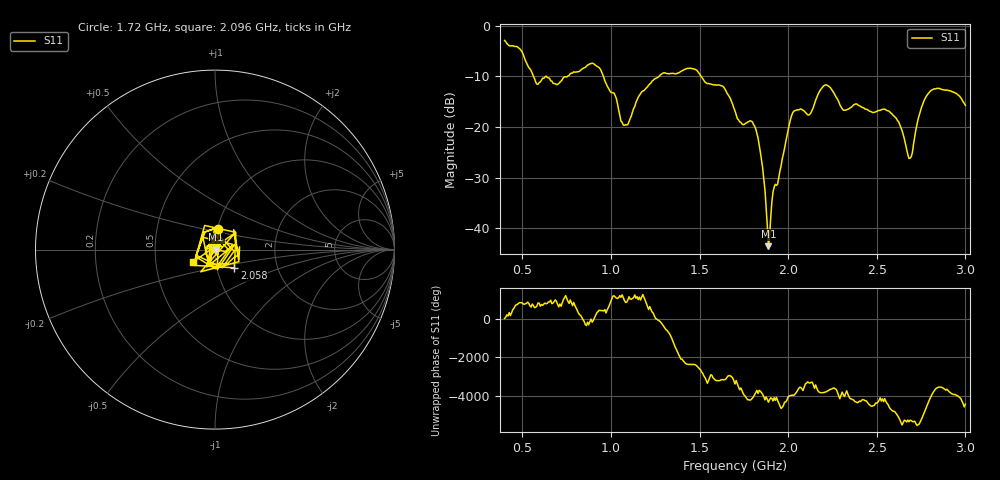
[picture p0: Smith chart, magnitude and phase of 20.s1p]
!Created with skrf (http://scikit-rf.org).
# Hz S RI R 50.0
!freq ReS11 ImS11
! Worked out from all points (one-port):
!   401 points, 400 MHz to 3 GHz, reference 50 ohm
!   lowest |S11| = -43.5 dB at 1.889 GHz (marker M1), VSWR 1.01, Z = 50.7 - j0.088 ohm
!   |S11| at or under -10 dB: 635.9 MHz to 754.1 MHz (118.2 MHz wide, 17 % of centre); 957.6 MHz to 1.271 GHz (313.1 MHz wide, 28.1 % of centre); 1.509 GHz to end of sweep (the widest 3 of 4)
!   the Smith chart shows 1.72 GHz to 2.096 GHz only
!   S11 on the Smith chart (normalised r, x): 1.72 GHz: 1.01, +0.24; 2.058 GHz: 1.21, -0.25; 2.096 GHz: 0.78, -0.11
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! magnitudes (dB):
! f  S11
! 400 MHz  -2.9
! 491 MHz  -4.8
! 582 MHz  -11.5
! 725 MHz  -10.6
! 907 MHz  -7.6
! 1.05 GHz  -17.7
! 1.089 GHz  -19.6
! 1.232 GHz  -10.9
! 1.375 GHz  -9.3
! 1.629 GHz  -11.9
! 1.7 GHz  -16.8
! 1.72 GHz  -18.5
! 1.823 GHz  -21.2
! 1.856 GHz  -28.0
! 1.889 GHz  -43.5
! 1.921 GHz  -31.8
! 2.025 GHz  -17.2
! 2.058 GHz  -16.6
! 2.096 GHz  -17.1
! 2.213 GHz  -11.7
! 2.35 GHz  -16.2
! 2.578 GHz  -17.2
! 2.63 GHz  -19.5
! 2.675 GHz  -25.4
! 2.695 GHz  -25.8
! 2.747 GHz  -16.8
! 2.805 GHz  -12.8
! 3 GHz  -15.7
